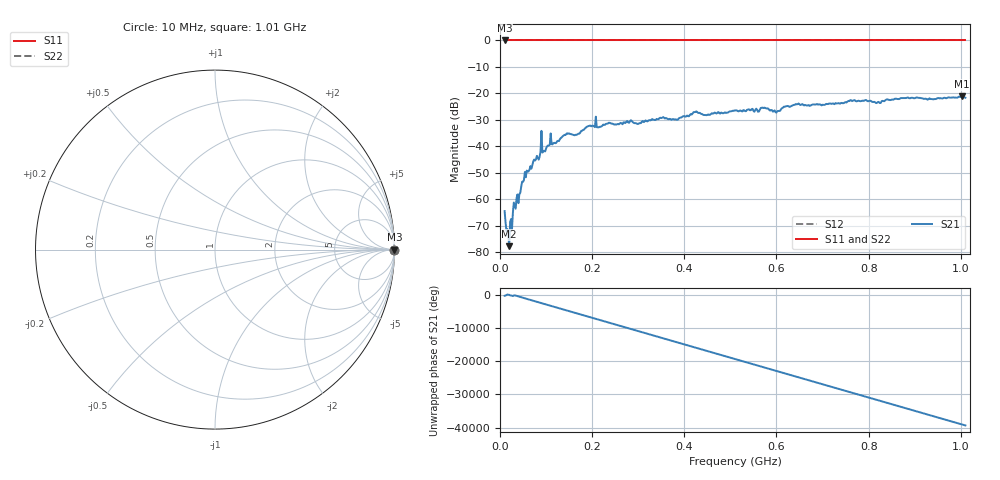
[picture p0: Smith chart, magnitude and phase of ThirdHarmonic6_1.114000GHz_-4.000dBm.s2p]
! 8/16/2025 10:37:53 AM
! C:\ANRITSUVNA\TEMP\TEMP.S2P
! CHANNEL.1
! TR.MEASUREMENT
! RAW.DATA
! RF.CORRECTION.OFF
! AVERAGING.OFF
! IF.BANDWIDTH: 5KHZ
! SWEEPTYPE:  FREQ.SWEEP(Linear)
! Reference Plane Port Info
! PORT:  PORT1  PORT2
! DISTANCE:  0  m  0  m
! TIME:  0  s  0  s
! PHASE.OFFSET:  0  deg.  0  deg.
! LOSS:  0  dB  0  dB
! REF.LOSS:  0  dB  0  dB
! REF.FREQ:  0  Hz  0  Hz
! Power Info
! POWER:  -20  dBm  -20  dBm
! EFF.POWER:  -20  dBm  -20  dBm
! SOURCE.ATTEN:  0  dB  0  dB
! TEST.ATTEN:  0  dB  0  dB
# GHZ S RI R 50.0
! FREQ.GHZ  S11RE  S11IM  S21RE  S21IM  S12RE  S12IM  S22RE  S22IM
!; PortSelection: Port_12
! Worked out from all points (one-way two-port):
!   501 points, 10 MHz to 1.01 GHz, reference 50 ohm
!   highest |S21| = -21.04 dB at 1.002 GHz (marker M1); lowest = -77.7 dB at 20 MHz (marker M2)
!   lowest |S11| = 0.0 dB at 10 MHz (marker M3)
!   |S11| at or under -10 dB: nowhere
!   |S22| runs from 0.0 to 0.0 dB; largest |S21 - S12| = 1.1
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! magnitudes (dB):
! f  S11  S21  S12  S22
! 10 MHz  0.0  -64.4  0.0  0.0
! 16 MHz  0.0  -71.2  0.0  0.0
! 20 MHz  0.0  -77.7  0.0  0.0
! 22 MHz  0.0  -68.5  0.0  0.0
! 26 MHz  0.0  -71.3  0.0  0.0
! 34 MHz  0.0  -63.5  0.0  0.0
! 44 MHz  0.0  -57.5  0.0  0.0
! 50 MHz  0.0  -53.4  0.0  0.0
! 90 MHz  0.0  -34.1  0.0  0.0
! 96 MHz  0.0  -41.7  0.0  0.0
! 106 MHz  0.0  -39.7  0.0  0.0
! 178 MHz  0.0  -34.1  0.0  0.0
! 204 MHz  0.0  -32.4  0.0  0.0
! 344 MHz  0.0  -29.7  0.0  0.0
! 510 MHz  0.0  -26.4  0.0  0.0
! 572 MHz  0.0  -25.5  0.0  0.0
! 602 MHz  0.0  -26.7  0.0  0.0
! 644 MHz  0.0  -24.1  0.0  0.0
! 678 MHz  0.0  -24.2  0.0  0.0
! 844 MHz  0.0  -22.4  0.0  0.0
! 1.002 GHz  0.0  -21.0  0.0  0.0
! 1.01 GHz  0.0  -21.6  0.0  0.0
